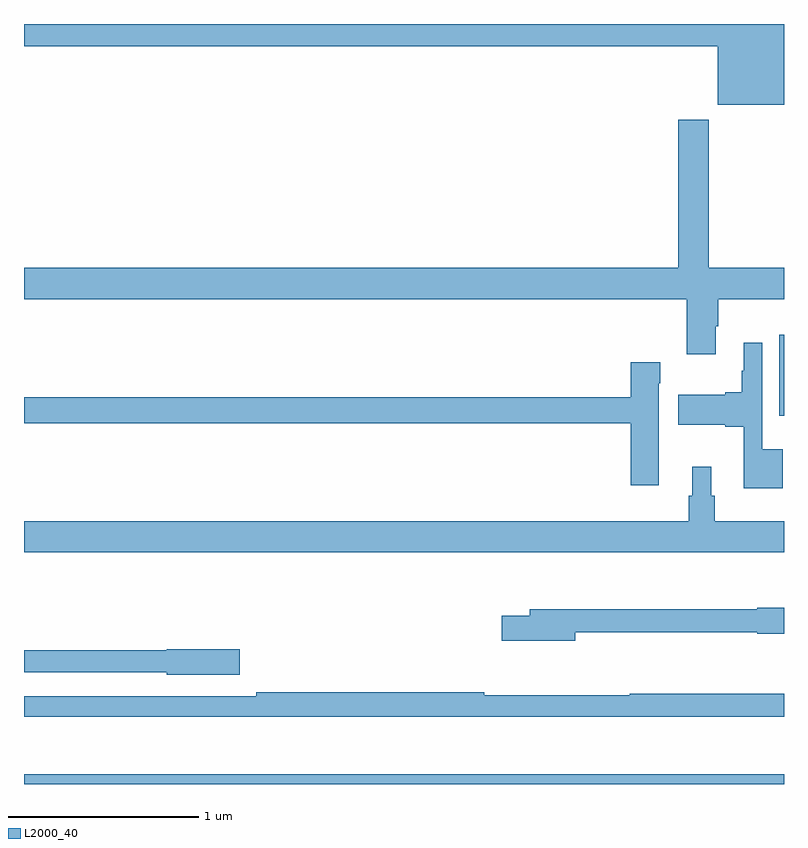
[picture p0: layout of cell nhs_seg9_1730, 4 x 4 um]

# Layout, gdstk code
import gdstk
lib = gdstk.Library(unit=1e-6, precision=1e-09)
def R(c, l, rs):  # rectangles x0, y0, x1, y1
    for r in rs: c.add(gdstk.rectangle(r[:2], r[2:], *l))
def P(c, l, *ps):  # polygons
    for p in ps: c.add(gdstk.Polygon(p, *l))
L2000_40 = (2000, 40)

nhs_seg9_1730 = lib.new_cell('nhs_seg9_1730')
R(nhs_seg9_1730, L2000_40, [(207,1228.5,211,1228.552), (210.975,1230.438,211,1230.864)])
P(nhs_seg9_1730, L2000_40, [(211,1232.5),(207,1232.5),(207,1232.384),(210.65,1232.384),(210.65,1232.075),(211,1232.075)],
  [(210.64,1230.91),(210.653,1230.91),(210.653,1231.052),(211,1231.052),(211,1231.216),(210.603,1231.216),(210.603,1231.996),(210.443,1231.996),(210.443,1231.216),(207,1231.216),(207,1231.052),(210.488,1231.052),(210.488,1230.762),(210.64,1230.762)],
  [(210.994,1230.262),(210.885,1230.262),(210.885,1230.823),(210.788,1230.823),(210.788,1230.674),(210.777,1230.674),(210.777,1230.563),(210.692,1230.563),(210.692,1230.55),(210.444,1230.55),(210.444,1230.392),(210.692,1230.392),(210.692,1230.38),(210.788,1230.38),(210.788,1230.056),(210.994,1230.056)],
  [(210.34,1230.608),(210.348,1230.608),(210.348,1230.721),(210.194,1230.721),(210.194,1230.536),(207,1230.536),(207,1230.4),(210.194,1230.4),(210.194,1230.072),(210.34,1230.072)],
  [(211,1229.884),(210.635,1229.884),(210.635,1230.018),(210.616,1230.018),(210.616,1230.169),(210.518,1230.169),(210.518,1230.018),(210.499,1230.018),(210.499,1229.884),(207,1229.884),(207,1229.72),(211,1229.72)],
  [(209.902,1229.298),(210.858,1229.298),(210.858,1229.29),(211,1229.29),(211,1229.427),(210.858,1229.427),(210.858,1229.419),(209.663,1229.419),(209.663,1229.385),(209.514,1229.385),(209.514,1229.255),(209.902,1229.255)],
  [(208.135,1229.21),(207.75,1229.21),(207.75,1229.204),(207,1229.204),(207,1229.088),(207.75,1229.088),(207.75,1229.075),(208.135,1229.075)],
  [(211,1228.975),(210.187,1228.975),(210.187,1228.967),(209.422,1228.967),(209.422,1228.982),(208.222,1228.982),(208.222,1228.962),(207,1228.962),(207,1228.854),(211,1228.854)])

lib.write_gds('nhs_seg9_1730.gds')
